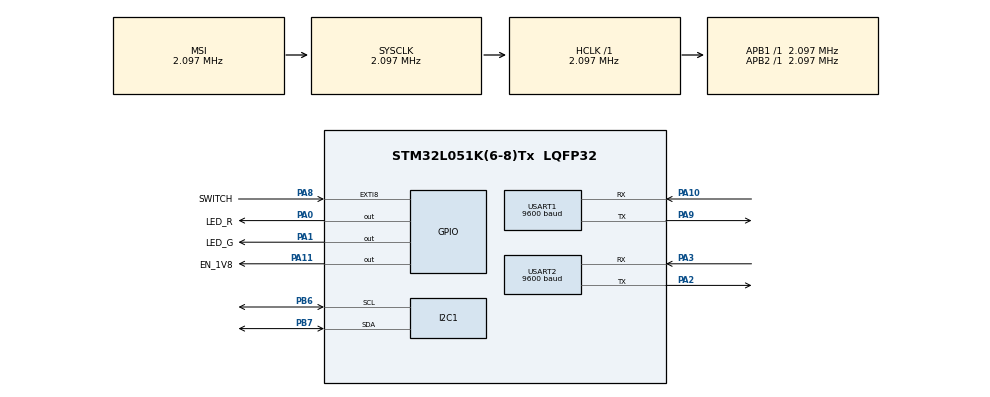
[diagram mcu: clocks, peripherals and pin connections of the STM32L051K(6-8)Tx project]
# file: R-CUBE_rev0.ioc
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Mcu.Family=STM32L0
Mcu.Name=STM32L051K(6-8)Tx
Mcu.Package=LQFP32
NVIC.EXTI4_15_IRQn=true\:0\:0\:false\:false\:true\:true\:true\:true
PA0.GPIO_Label=LED_R
PA0.Signal=GPIO_Output
PA1.GPIO_Label=LED_G
PA1.Signal=GPIO_Output
PA10.Mode=Asynchronous
PA10.Signal=USART1_RX
PA11.GPIO_Label=EN_1V8
PA11.Signal=GPIO_Output
PA13.Mode=Serial_Wire
PA13.Signal=SYS_SWDIO
PA14.Mode=Serial_Wire
PA14.Signal=SYS_SWCLK
PA2.Mode=Asynchronous
PA2.Signal=USART2_TX
PA3.Mode=Asynchronous
PA3.Signal=USART2_RX
PA8.GPIO_Label=SWITCH
PA8.GPIO_ModeDefaultEXTI=GPIO_MODE_IT_FALLING
PA8.Signal=GPXTI8
PA9.Mode=Asynchronous
PA9.Signal=USART1_TX
PB6.Mode=I2C
PB6.Signal=I2C1_SCL
PB7.Mode=I2C
PB7.Signal=I2C1_SDA
ProjectManager.HeapSize=0x200
ProjectManager.StackSize=0x400
ProjectManager.TargetToolchain=Makefile
RCC.AHBFreq_Value=2097000
RCC.APB1Freq_Value=2097000
RCC.APB1TimFreq_Value=2097000
RCC.APB2Freq_Value=2097000
RCC.APB2TimFreq_Value=2097000
RCC.HSI16_VALUE=16000000
RCC.HSI_VALUE=16000000
RCC.LSE_VALUE=32768
RCC.MSI_VALUE=2097000
RCC.SYSCLKFreq_VALUE=2097000
RCC.VCOOutputFreq_Value=48000000
USART1.BaudRate=9600
USART1.VirtualMode-Asynchronous=VM_ASYNC
USART2.BaudRate=9600
USART2.VirtualMode-Asynchronous=VM_ASYNC
board=custom

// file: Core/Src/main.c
/* USER CODE BEGIN Header */
/**
  ******************************************************************************
  * @file           : main.c
  * @brief          : Main program body
  ******************************************************************************
  * @attention
  *
  * Copyright (c) 2022 STMicroelectronics.
  * All rights reserved.
  *
  * This software is licensed under terms that can be found in the LICENSE file
  * in the root directory of this software component.
  * If no LICENSE file comes with this software, it is provided AS-IS.
  *
  ******************************************************************************
  */
/* USER CODE END Header */
#include "main.h"
#include "i2c.h"
#include "usart.h"
#include "gpio.h"

/* USER CODE BEGIN Includes */
#include "printf.h"
#include "stm32hpmlib.h"
#include "stm32_tm1637.h"
#include "shtc1.h"
/* USER CODE END Includes */

/* USER CODE BEGIN PD */

//TEST_HPM        TEST_TMP1637          TEST_I2C_BME680
#define TEST_I2C_SHTC1
#define TEST_HPM
#define TEST_TM1637

/* USER CODE END PD */

/* USER CODE BEGIN PV */
volatile uint32_t time_is_runing;
int pm2,pm10,resultUartSet,resultStartMeasure,resultRead,resultStopMeasure;
int32_t temperature, humidity;
volatile uint32_t counter=0;

/* USER CODE END PV */

void SystemClock_Config(void);
/* USER CODE BEGIN PFP */
void HAL_GPIO_EXTI_Callback(uint16_t GPIO_Pin);
/* USER CODE END PFP */

int main(void)
{

  /* MCU Configuration--------------------------------------------------------*/

  /* Reset of all peripherals, Initializes the Flash interface and the Systick. */
  HAL_Init();

  /* Configure the system clock */
  SystemClock_Config();

  /* Initialize all configured peripherals */
  MX_GPIO_Init();
  MX_USART2_UART_Init();
  MX_USART1_UART_Init();
  MX_I2C1_Init();

  /* Infinite loop */
  /* USER CODE BEGIN WHILE */

  #ifdef TEST_HPM
  hpmSetup();
  #endif

  #ifdef TEST_TM1637

  tm1637Init();
  tm1637SetBrightness(3);
  tm1637DisplayDecimal(1234, 1);
  #endif

  #ifdef TEST_I2C_SHTC1
    HAL_GPIO_WritePin(EN_1V8_GPIO_Port,EN_1V8_Pin,GPIO_PIN_SET);
    sensirion_i2c_init();

    #endif
    int32_t measurementValue[4];
  while (1)
  {

    /*HAL_GPIO_TogglePin(LED_G_GPIO_Port,LED_G_Pin);
    HAL_Delay(250);
    HAL_GPIO_TogglePin(LED_R_GPIO_Port,LED_R_Pin);
    HAL_Delay(250);*/
    #ifdef TEST_I2C_SHTC1

    //printf_("Communication is working %d\n", time_is_runing);

	          /* Measure temperature and relative humidity and store into variables
	           * temperature, humidity (each output multiplied by 1000).
	           */
	          int8_t ret = shtc1_measure_blocking_read(&temperature, &humidity);
	          if (ret == STATUS_OK) {
	              printf_("measured temperature: %0.1f degreeCelsius, "
	                     "measured humidity: %0.1f percentRH\n\n",
	                     temperature / 1000.0f, humidity / 1000.0f);
	          } else {
	              printf_("error reading measurement\n");
	          }

	          sensirion_sleep_usec(1000000);

    #endif

    #ifdef TEST_HPM
    resultRead = hpmReadResults(&pm2,&pm10);
    if( resultRead == 0)
      //printf_("Counter %d result set uart: %d result set measure %d result read %d stop measure %d\n",time_is_runing, resultUartSet, resultStartMeasure, resultRead,resultStopMeasure);
    printf_("PM2.5: %d PM10: %d \n\n",pm2,pm10);
    //}

    #endif

    measurementValue[0]=pm2;
    measurementValue[1]=pm10;
    measurementValue[2]=temperature/100;
    measurementValue[3]=humidity/100;

    #ifdef TEST_TM1637

    (counter == 0) || (counter == 1) ? tm1637DisplayDecimal(measurementValue[counter], 0) : tm1637DisplayDecimal(measurementValue[counter], 1);

    //HAL_Delay(500);

    // if( (time_is_runing%4) == 0 ){

	  //   counter++;

    // }

    // if(counter == 4) counter=0;

    // time_is_runing++;

     #endif

    /* USER CODE END WHILE */

  }
}

void SystemClock_Config(void)
{
  RCC_OscInitTypeDef RCC_OscInitStruct = {0};
  RCC_ClkInitTypeDef RCC_ClkInitStruct = {0};
  RCC_PeriphCLKInitTypeDef PeriphClkInit = {0};

  /** Configure the main internal regulator output voltage
  */
  __HAL_PWR_VOLTAGESCALING_CONFIG(PWR_REGULATOR_VOLTAGE_SCALE1);

  /** Initializes the RCC Oscillators according to the specified parameters
  * in the RCC_OscInitTypeDef structure.
  */
  RCC_OscInitStruct.OscillatorType = RCC_OSCILLATORTYPE_MSI;
  RCC_OscInitStruct.MSIState = RCC_MSI_ON;
  RCC_OscInitStruct.MSICalibrationValue = 0;
  RCC_OscInitStruct.MSIClockRange = RCC_MSIRANGE_5;
  RCC_OscInitStruct.PLL.PLLState = RCC_PLL_NONE;
  if (HAL_RCC_OscConfig(&RCC_OscInitStruct) != HAL_OK)
  {
    Error_Handler();
  }

  /** Initializes the CPU, AHB and APB buses clocks
  */
  RCC_ClkInitStruct.ClockType = RCC_CLOCKTYPE_HCLK|RCC_CLOCKTYPE_SYSCLK
                              |RCC_CLOCKTYPE_PCLK1|RCC_CLOCKTYPE_PCLK2;
  RCC_ClkInitStruct.SYSCLKSource = RCC_SYSCLKSOURCE_MSI;
  RCC_ClkInitStruct.AHBCLKDivider = RCC_SYSCLK_DIV1;
  RCC_ClkInitStruct.APB1CLKDivider = RCC_HCLK_DIV1;
  RCC_ClkInitStruct.APB2CLKDivider = RCC_HCLK_DIV1;

  if (HAL_RCC_ClockConfig(&RCC_ClkInitStruct, FLASH_LATENCY_0) != HAL_OK)
  {
    Error_Handler();
  }
  PeriphClkInit.PeriphClockSelection = RCC_PERIPHCLK_USART1|RCC_PERIPHCLK_USART2
                              |RCC_PERIPHCLK_I2C1;
  PeriphClkInit.Usart1ClockSelection = RCC_USART1CLKSOURCE_PCLK2;
  PeriphClkInit.Usart2ClockSelection = RCC_USART2CLKSOURCE_PCLK1;
  PeriphClkInit.I2c1ClockSelection = RCC_I2C1CLKSOURCE_PCLK1;
  if (HAL_RCCEx_PeriphCLKConfig(&PeriphClkInit) != HAL_OK)
  {
    Error_Handler();
  }
}

/* USER CODE BEGIN 4 */
void HAL_GPIO_EXTI_Callback(uint16_t GPIO_Pin){
  //HAL_Delay(20); placzego ten HAL nie działa
  if(GPIO_Pin == SWITCH_Pin){

    if( HAL_GPIO_ReadPin(SWITCH_GPIO_Port,SWITCH_Pin) == GPIO_PIN_RESET ){
      HAL_GPIO_TogglePin(LED_G_GPIO_Port,LED_G_Pin);
      counter++;
    }
    if(counter == 4) counter=0;
  }
}
/* USER CODE END 4 */

void Error_Handler(void)
{
  __disable_irq();
  while (1)
  {
  }
}
